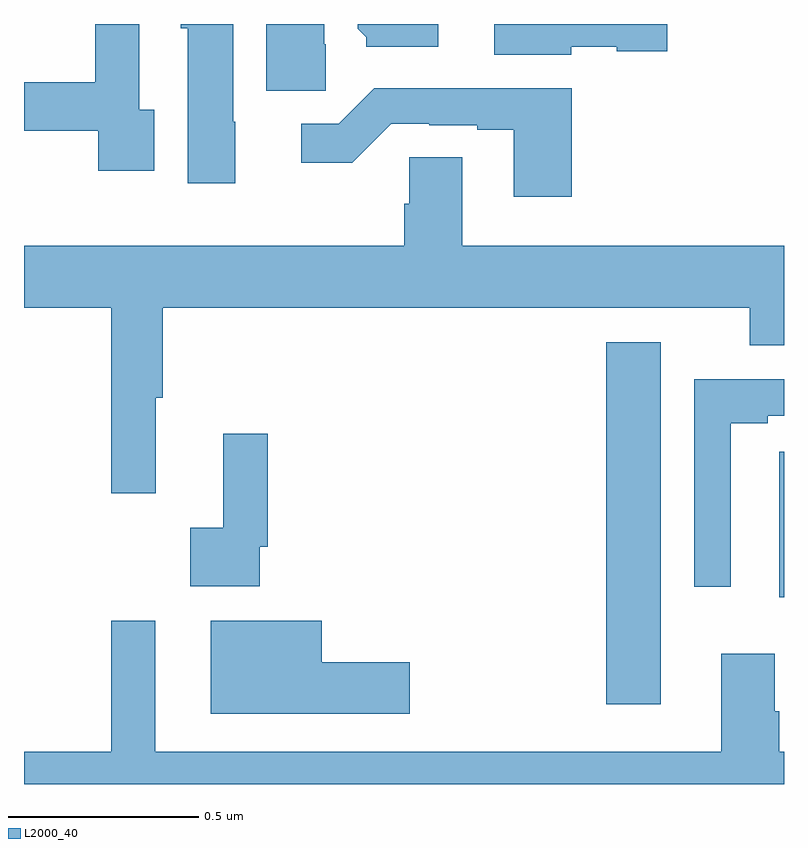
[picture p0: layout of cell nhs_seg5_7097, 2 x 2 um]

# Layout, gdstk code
import gdstk
lib = gdstk.Library(unit=1e-6, precision=1e-09)
def R(c, l, rs):  # rectangles x0, y0, x1, y1
    for r in rs: c.add(gdstk.rectangle(r[:2], r[2:], *l))
def P(c, l, *ps):  # polygons
    for p in ps: c.add(gdstk.Polygon(p, *l))
L2000_40 = (2000, 40)

nhs_seg5_7097 = lib.new_cell('nhs_seg5_7097')
R(nhs_seg5_7097, L2000_40, [(205.532,897.009,205.675,897.961), (205.988,897.29,206,897.673)])
P(nhs_seg5_7097, L2000_40, [(204.794,898.746),(204.79,898.746),(204.79,898.799),(204.638,898.799),(204.638,898.623),(204.794,898.623)],
  [(205.44,898.739),(205.56,898.739),(205.56,898.727),(205.693,898.727),(205.693,898.799),(205.238,898.799),(205.238,898.718),(205.44,898.718)],
  [(204.343,898.574),(204.303,898.574),(204.303,898.799),(204.187,898.799),(204.187,898.646),(204,898.646),(204,898.518),(204.195,898.518),(204.195,898.413),(204.343,898.413)],
  [(204.556,898.542),(204.55,898.542),(204.55,898.799),(204.413,898.799),(204.413,898.788),(204.431,898.788),(204.431,898.38),(204.556,898.38)],
  [(205.09,898.799),(204.878,898.799),(204.878,898.786),(204.9,898.764),(204.9,898.739),(205.09,898.739)],
  [(205.442,898.63),(204.922,898.63),(204.828,898.536),(204.729,898.536),(204.729,898.434),(204.864,898.434),(204.966,898.536),(205.066,898.536),(205.066,898.533),(205.193,898.533),(205.193,898.521),(205.289,898.521),(205.289,898.344),(205.442,898.344)],
  [(204.347,897.816),(204.365,897.816),(204.365,898.052),(205.91,898.052),(205.91,897.953),(206,897.953),(206,898.216),(205.153,898.216),(205.153,898.448),(205.014,898.448),(205.014,898.326),(205.001,898.326),(205.001,898.216),(204,898.216),(204,898.052),(204.229,898.052),(204.229,897.564),(204.347,897.564)],
  [(205.86,897.748),(205.957,897.748),(205.957,897.768),(206,897.768),(206,897.864),(205.764,897.864),(205.764,897.318),(205.86,897.318)],
  [(204.621,897.424),(204.641,897.424),(204.641,897.721),(204.524,897.721),(204.524,897.473),(204.438,897.473),(204.438,897.32),(204.621,897.32)],
  [(205.015,897.119),(204.784,897.119),(204.784,897.229),(204.491,897.229),(204.491,896.984),(205.015,896.984)],
  [(206,896.884),(205.988,896.884),(205.988,896.99),(205.975,896.99),(205.975,897.142),(205.835,897.142),(205.835,896.884),(204.346,896.884),(204.346,897.229),(204.229,897.229),(204.229,896.884),(204,896.884),(204,896.799),(206,896.799)])

lib.write_gds('nhs_seg5_7097.gds')
